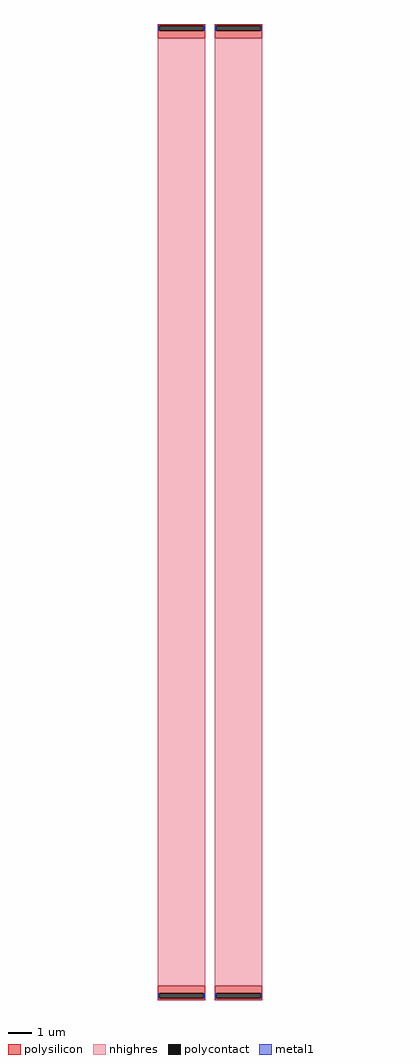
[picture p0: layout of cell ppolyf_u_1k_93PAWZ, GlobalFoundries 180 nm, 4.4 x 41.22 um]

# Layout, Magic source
magic
tech gf180mcuD
magscale 1 10
<< polysilicon >>
rect -440 4109 -40 4122
rect -440 4063 -427 4109
rect -53 4063 -40 4109
rect -440 4000 -40 4063
rect -440 -4063 -40 -4000
rect -440 -4109 -427 -4063
rect -53 -4109 -40 -4063
rect -440 -4122 -40 -4109
rect 40 4109 440 4122
rect 40 4063 53 4109
rect 427 4063 440 4109
rect 40 4000 440 4063
rect 40 -4063 440 -4000
rect 40 -4109 53 -4063
rect 427 -4109 440 -4063
rect 40 -4122 440 -4109
<< polycontact >>
rect -427 4063 -53 4109
rect -427 -4109 -53 -4063
rect 53 4063 427 4109
rect 53 -4109 427 -4063
<< nhighres >>
rect -440 -4000 -40 4000
rect 40 -4000 440 4000
<< metal1 >>
rect -438 4063 -427 4109
rect -53 4063 -42 4109
rect 42 4063 53 4109
rect 427 4063 438 4109
rect -438 -4109 -427 -4063
rect -53 -4109 -42 -4063
rect 42 -4109 53 -4063
rect 427 -4109 438 -4063
<< properties >>
string FIXED_BBOX -616 -4298 616 4298
string gencell ppolyf_u_1k
string library gf180mcu
string parameters w 2 l 40 m 1 nx 2 wmin 1.000 lmin 1.000 class resistor rho 1000 val 20.0k dummy 0 dw 0.0 term 0.0 sterm 0.0 caplen 0.4 snake 0 glc 0 grc 0 gtc 0 gbc 0 roverlap 0 endcov 100 full_metal 0 compatible {ppolyf_u_1k ppolyf_u_1k_6p0}
<< end >>
